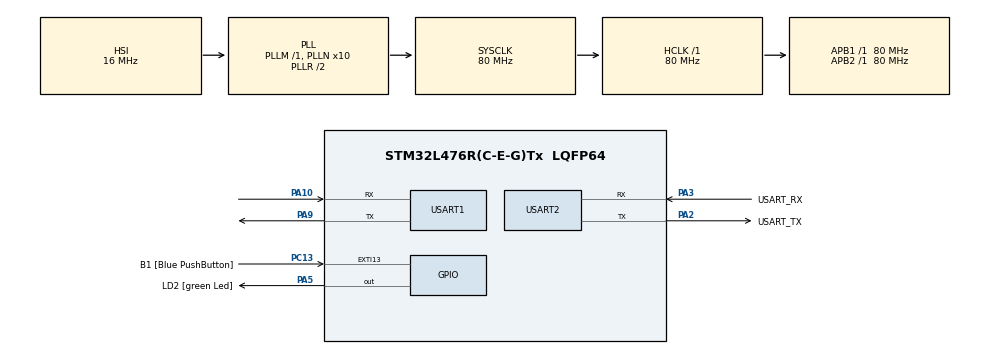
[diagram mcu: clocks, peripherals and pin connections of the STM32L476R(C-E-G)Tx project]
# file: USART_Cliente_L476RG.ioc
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Dma.Request0=USART1_RX
Dma.Request1=USART1_TX
Dma.Request2=USART2_RX
Dma.Request3=USART2_TX
Dma.USART1_RX.0.Direction=DMA_PERIPH_TO_MEMORY
Dma.USART1_RX.0.Instance=DMA1_Channel5
Dma.USART1_RX.0.MemDataAlignment=DMA_MDATAALIGN_BYTE
Dma.USART1_RX.0.MemInc=DMA_MINC_ENABLE
Dma.USART1_RX.0.Mode=DMA_NORMAL
Dma.USART1_RX.0.PeriphDataAlignment=DMA_PDATAALIGN_BYTE
Dma.USART1_RX.0.PeriphInc=DMA_PINC_DISABLE
Dma.USART1_RX.0.Priority=DMA_PRIORITY_LOW
Dma.USART1_TX.1.Direction=DMA_MEMORY_TO_PERIPH
Dma.USART1_TX.1.Instance=DMA1_Channel4
Dma.USART1_TX.1.MemDataAlignment=DMA_MDATAALIGN_BYTE
Dma.USART1_TX.1.MemInc=DMA_MINC_ENABLE
Dma.USART1_TX.1.Mode=DMA_NORMAL
Dma.USART1_TX.1.PeriphDataAlignment=DMA_PDATAALIGN_BYTE
Dma.USART1_TX.1.PeriphInc=DMA_PINC_DISABLE
Dma.USART1_TX.1.Priority=DMA_PRIORITY_LOW
Dma.USART2_RX.2.Direction=DMA_PERIPH_TO_MEMORY
Dma.USART2_RX.2.Instance=DMA1_Channel6
Dma.USART2_RX.2.MemDataAlignment=DMA_MDATAALIGN_BYTE
Dma.USART2_RX.2.MemInc=DMA_MINC_ENABLE
Dma.USART2_RX.2.Mode=DMA_NORMAL
Dma.USART2_RX.2.PeriphDataAlignment=DMA_PDATAALIGN_BYTE
Dma.USART2_RX.2.PeriphInc=DMA_PINC_DISABLE
Dma.USART2_RX.2.Priority=DMA_PRIORITY_LOW
Dma.USART2_TX.3.Direction=DMA_MEMORY_TO_PERIPH
Dma.USART2_TX.3.Instance=DMA1_Channel7
Dma.USART2_TX.3.MemDataAlignment=DMA_MDATAALIGN_BYTE
Dma.USART2_TX.3.MemInc=DMA_MINC_ENABLE
Dma.USART2_TX.3.Mode=DMA_NORMAL
Dma.USART2_TX.3.PeriphDataAlignment=DMA_PDATAALIGN_BYTE
Dma.USART2_TX.3.PeriphInc=DMA_PINC_DISABLE
Dma.USART2_TX.3.Priority=DMA_PRIORITY_LOW
Mcu.Family=STM32L4
Mcu.Name=STM32L476R(C-E-G)Tx
Mcu.Package=LQFP64
NVIC.DMA1_Channel4_IRQn=true\:0\:0\:false\:false\:true\:false\:true\:true
NVIC.DMA1_Channel5_IRQn=true\:0\:0\:false\:false\:true\:false\:true\:true
NVIC.DMA1_Channel6_IRQn=true\:0\:0\:false\:false\:true\:false\:true\:true
NVIC.DMA1_Channel7_IRQn=true\:0\:0\:false\:false\:true\:false\:true\:true
NVIC.EXTI15_10_IRQn=true\:0\:0\:false\:false\:true\:true\:true\:true
NVIC.PriorityGroup=NVIC_PRIORITYGROUP_4
NVIC.USART1_IRQn=true\:0\:0\:false\:false\:true\:true\:true\:true
NVIC.USART2_IRQn=true\:0\:0\:false\:false\:true\:true\:true\:true
PA10.Mode=Asynchronous
PA10.Signal=USART1_RX
PA13\ (JTMS-SWDIO).GPIO_Label=TMS
PA13\ (JTMS-SWDIO).Signal=SYS_JTMS-SWDIO
PA14\ (JTCK-SWCLK).GPIO_Label=TCK
PA14\ (JTCK-SWCLK).Signal=SYS_JTCK-SWCLK
PA2.GPIO_Label=USART_TX
PA2.GPIO_Mode=GPIO_MODE_AF_PP
PA2.GPIO_PuPd=GPIO_NOPULL
PA2.GPIO_Speed=GPIO_SPEED_FREQ_VERY_HIGH
PA2.Mode=Asynchronous
PA2.Signal=USART2_TX
PA3.GPIO_Label=USART_RX
PA3.GPIO_Mode=GPIO_MODE_AF_PP
PA3.GPIO_PuPd=GPIO_NOPULL
PA3.GPIO_Speed=GPIO_SPEED_FREQ_VERY_HIGH
PA3.Mode=Asynchronous
PA3.Signal=USART2_RX
PA5.GPIO_Label=LD2 [green Led]
PA5.GPIO_ModeDefaultOutputPP=GPIO_MODE_OUTPUT_PP
PA5.GPIO_PuPd=GPIO_NOPULL
PA5.GPIO_Speed=GPIO_SPEED_FREQ_VERY_HIGH
PA5.Signal=GPIO_Output
PA9.Mode=Asynchronous
PA9.Signal=USART1_TX
PB3\ (JTDO-TRACESWO).GPIO_Label=SWO
PB3\ (JTDO-TRACESWO).Signal=SYS_JTDO-SWO
PC13.GPIO_Label=B1 [Blue PushButton]
PC13.GPIO_ModeDefaultEXTI=GPIO_MODE_IT_FALLING
PC13.GPIO_PuPd=GPIO_NOPULL
PC13.Signal=GPXTI13
PC14-OSC32_IN\ (PC14).Signal=RCC_OSC32_IN
PC15-OSC32_OUT\ (PC15).Signal=RCC_OSC32_OUT
PH0-OSC_IN\ (PH0).Signal=RCC_OSC_IN
PH1-OSC_OUT\ (PH1).Signal=RCC_OSC_OUT
ProjectManager.HeapSize=0x200
ProjectManager.StackSize=0x400
ProjectManager.TargetToolchain=STM32CubeIDE
RCC.ADCFreq_Value=64000000
RCC.AHBFreq_Value=80000000
RCC.APB1Freq_Value=80000000
RCC.APB1TimFreq_Value=80000000
RCC.APB2Freq_Value=80000000
RCC.APB2TimFreq_Value=80000000
RCC.CortexFreq_Value=80000000
RCC.HCLKFreq_Value=80000000
RCC.HSE_VALUE=8000000
RCC.HSI_VALUE=16000000
RCC.LSE_VALUE=32768
RCC.MSI_VALUE=4000000
RCC.PLLN=10
RCC.PLLSourceVirtual=RCC_PLLSOURCE_HSI
RCC.PREFETCH_ENABLE=1
RCC.SYSCLKFreq_VALUE=80000000
RCC.SYSCLKSource=RCC_SYSCLKSOURCE_PLLCLK
RCC.USBFreq_Value=64000000
RCC.VCOOutputFreq_Value=160000000
USART1.VirtualMode-Asynchronous=VM_ASYNC
USART2.VirtualMode-Asynchronous=VM_ASYNC
board=NUCLEO-L476RG

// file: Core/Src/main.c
/* USER CODE BEGIN Header */
/**
  ******************************************************************************
  * @file           : main.c
  * @brief          : Main program body
  ******************************************************************************
  * @attention
  *
  * Copyright (c) 2025 STMicroelectronics.
  * All rights reserved.
  *
  * This software is licensed under terms that can be found in the LICENSE file
  * in the root directory of this software component.
  * If no LICENSE file comes with this software, it is provided AS-IS.
  *
  ******************************************************************************
  */
/* USER CODE END Header */
#include "main.h"

/* USER CODE BEGIN Includes */
#include <stdio.h>
#include <stdbool.h>
#include <string.h>
/* USER CODE END Includes */

/* USER CODE BEGIN PD */
#define TABLE_BUF_SIZE 256
#define MAX_BLINK 5
/* USER CODE END PD */

UART_HandleTypeDef huart1;
UART_HandleTypeDef huart2;
DMA_HandleTypeDef hdma_usart1_tx;
DMA_HandleTypeDef hdma_usart1_rx;
DMA_HandleTypeDef hdma_usart2_rx;
DMA_HandleTypeDef hdma_usart2_tx;

/* USER CODE BEGIN PV */
volatile bool buttonPressed = false;
volatile bool isBusy = false;

volatile uint8_t rx_byte = 0;
volatile bool expecting_table = false;
volatile uint8_t blink_counter = 0;

volatile uint8_t dma_buffer[TABLE_BUF_SIZE];
volatile uint16_t dma_idx = 0;
volatile bool dma_ready = false;
volatile uint32_t last_rx_tick = 0;
const uint32_t table_rx_timeout = 40;

uint8_t blink_done_count = 0;
uint8_t blink_phase = 0;
uint32_t last_toggle = 0;
const uint32_t on_time = 200;
const uint32_t off_time = 200;

const uint32_t debounce_delay = 200;
volatile uint32_t last_interrupt_time = 0;
/* USER CODE END PV */

void SystemClock_Config(void);
static void MX_GPIO_Init(void);
static void MX_DMA_Init(void);
static void MX_USART2_UART_Init(void);
static void MX_USART1_UART_Init(void);
/* USER CODE BEGIN PFP */
static void HandleButton(void);
static void HandleTable(void);
static void HandleBlink(void);
/* USER CODE END PFP */

int main(void)
{

  /* MCU Configuration--------------------------------------------------------*/

  /* Reset of all peripherals, Initializes the Flash interface and the Systick. */
  HAL_Init();

  /* Configure the system clock */
  SystemClock_Config();

  /* Initialize all configured peripherals */
  MX_GPIO_Init();
  MX_DMA_Init();
  MX_USART2_UART_Init();
  MX_USART1_UART_Init();
  /* USER CODE BEGIN 2 */

  HAL_UART_Transmit(&huart2, (uint8_t *)"USART2 OK\r\n", 11, 100);
  /* USER CODE END 2 */

  /* Infinite loop */
  /* USER CODE BEGIN WHILE */
  HAL_UART_Receive_IT(&huart1, (uint8_t *)&rx_byte, 1);
  HAL_GPIO_WritePin(GPIOA, LD2_Pin, GPIO_PIN_RESET);

    while(1)
    {
    	HandleButton();
    	HandleTable();
    	HandleBlink();
    /* USER CODE END WHILE */

    }
}

void SystemClock_Config(void)
{
  RCC_OscInitTypeDef RCC_OscInitStruct = {0};
  RCC_ClkInitTypeDef RCC_ClkInitStruct = {0};

  /** Configure the main internal regulator output voltage
  */
  if (HAL_PWREx_ControlVoltageScaling(PWR_REGULATOR_VOLTAGE_SCALE1) != HAL_OK)
  {
    Error_Handler();
  }

  /** Initializes the RCC Oscillators according to the specified parameters
  * in the RCC_OscInitTypeDef structure.
  */
  RCC_OscInitStruct.OscillatorType = RCC_OSCILLATORTYPE_HSI;
  RCC_OscInitStruct.HSIState = RCC_HSI_ON;
  RCC_OscInitStruct.HSICalibrationValue = RCC_HSICALIBRATION_DEFAULT;
  RCC_OscInitStruct.PLL.PLLState = RCC_PLL_ON;
  RCC_OscInitStruct.PLL.PLLSource = RCC_PLLSOURCE_HSI;
  RCC_OscInitStruct.PLL.PLLM = 1;
  RCC_OscInitStruct.PLL.PLLN = 10;
  RCC_OscInitStruct.PLL.PLLP = RCC_PLLP_DIV7;
  RCC_OscInitStruct.PLL.PLLQ = RCC_PLLQ_DIV2;
  RCC_OscInitStruct.PLL.PLLR = RCC_PLLR_DIV2;
  if (HAL_RCC_OscConfig(&RCC_OscInitStruct) != HAL_OK)
  {
    Error_Handler();
  }

  /** Initializes the CPU, AHB and APB buses clocks
  */
  RCC_ClkInitStruct.ClockType = RCC_CLOCKTYPE_HCLK|RCC_CLOCKTYPE_SYSCLK
                              |RCC_CLOCKTYPE_PCLK1|RCC_CLOCKTYPE_PCLK2;
  RCC_ClkInitStruct.SYSCLKSource = RCC_SYSCLKSOURCE_PLLCLK;
  RCC_ClkInitStruct.AHBCLKDivider = RCC_SYSCLK_DIV1;
  RCC_ClkInitStruct.APB1CLKDivider = RCC_HCLK_DIV1;
  RCC_ClkInitStruct.APB2CLKDivider = RCC_HCLK_DIV1;

  if (HAL_RCC_ClockConfig(&RCC_ClkInitStruct, FLASH_LATENCY_4) != HAL_OK)
  {
    Error_Handler();
  }
}

static void MX_USART1_UART_Init(void)
{

  huart1.Instance = USART1;
  huart1.Init.BaudRate = 115200;
  huart1.Init.WordLength = UART_WORDLENGTH_8B;
  huart1.Init.StopBits = UART_STOPBITS_1;
  huart1.Init.Parity = UART_PARITY_NONE;
  huart1.Init.Mode = UART_MODE_TX_RX;
  huart1.Init.HwFlowCtl = UART_HWCONTROL_NONE;
  huart1.Init.OverSampling = UART_OVERSAMPLING_16;
  huart1.Init.OneBitSampling = UART_ONE_BIT_SAMPLE_DISABLE;
  huart1.AdvancedInit.AdvFeatureInit = UART_ADVFEATURE_NO_INIT;
  if (HAL_UART_Init(&huart1) != HAL_OK)
  {
    Error_Handler();
  }

}

static void MX_USART2_UART_Init(void)
{

  huart2.Instance = USART2;
  huart2.Init.BaudRate = 115200;
  huart2.Init.WordLength = UART_WORDLENGTH_8B;
  huart2.Init.StopBits = UART_STOPBITS_1;
  huart2.Init.Parity = UART_PARITY_NONE;
  huart2.Init.Mode = UART_MODE_TX_RX;
  huart2.Init.HwFlowCtl = UART_HWCONTROL_NONE;
  huart2.Init.OverSampling = UART_OVERSAMPLING_16;
  huart2.Init.OneBitSampling = UART_ONE_BIT_SAMPLE_DISABLE;
  huart2.AdvancedInit.AdvFeatureInit = UART_ADVFEATURE_NO_INIT;
  if (HAL_UART_Init(&huart2) != HAL_OK)
  {
    Error_Handler();
  }

}

static void MX_DMA_Init(void)
{

  /* DMA controller clock enable */
  __HAL_RCC_DMA1_CLK_ENABLE();

  /* DMA interrupt init */
  /* DMA1_Channel4_IRQn interrupt configuration */
  HAL_NVIC_SetPriority(DMA1_Channel4_IRQn, 0, 0);
  HAL_NVIC_EnableIRQ(DMA1_Channel4_IRQn);
  /* DMA1_Channel5_IRQn interrupt configuration */
  HAL_NVIC_SetPriority(DMA1_Channel5_IRQn, 0, 0);
  HAL_NVIC_EnableIRQ(DMA1_Channel5_IRQn);
  /* DMA1_Channel6_IRQn interrupt configuration */
  HAL_NVIC_SetPriority(DMA1_Channel6_IRQn, 0, 0);
  HAL_NVIC_EnableIRQ(DMA1_Channel6_IRQn);
  /* DMA1_Channel7_IRQn interrupt configuration */
  HAL_NVIC_SetPriority(DMA1_Channel7_IRQn, 0, 0);
  HAL_NVIC_EnableIRQ(DMA1_Channel7_IRQn);

}

static void MX_GPIO_Init(void)
{
  GPIO_InitTypeDef GPIO_InitStruct = {0};

  /* GPIO Ports Clock Enable */
  __HAL_RCC_GPIOC_CLK_ENABLE();
  __HAL_RCC_GPIOH_CLK_ENABLE();
  __HAL_RCC_GPIOA_CLK_ENABLE();
  __HAL_RCC_GPIOB_CLK_ENABLE();

  /*Configure GPIO pin Output Level */
  HAL_GPIO_WritePin(LD2_GPIO_Port, LD2_Pin, GPIO_PIN_RESET);

  /*Configure GPIO pin : B1_Pin */
  GPIO_InitStruct.Pin = B1_Pin;
  GPIO_InitStruct.Mode = GPIO_MODE_IT_FALLING;
  GPIO_InitStruct.Pull = GPIO_NOPULL;
  HAL_GPIO_Init(B1_GPIO_Port, &GPIO_InitStruct);

  /*Configure GPIO pin : LD2_Pin */
  GPIO_InitStruct.Pin = LD2_Pin;
  GPIO_InitStruct.Mode = GPIO_MODE_OUTPUT_PP;
  GPIO_InitStruct.Pull = GPIO_NOPULL;
  GPIO_InitStruct.Speed = GPIO_SPEED_FREQ_VERY_HIGH;
  HAL_GPIO_Init(LD2_GPIO_Port, &GPIO_InitStruct);

  /* EXTI interrupt init*/
  HAL_NVIC_SetPriority(EXTI15_10_IRQn, 0, 0);
  HAL_NVIC_EnableIRQ(EXTI15_10_IRQn);

}

/* USER CODE BEGIN 4 */

static void HandleButton(void) {
    if (buttonPressed) {
    	buttonPressed = false;
        if (!isBusy) {
            uint8_t cmd = 0x5A;
            HAL_UART_Transmit_IT(&huart1, &cmd, 1);
        }
    }
}

static void HandleTable(void) {
    if (expecting_table && dma_idx > 0) {
        if (HAL_GetTick() - last_rx_tick >= table_rx_timeout) {
        	dma_buffer[dma_idx] = '\0';
        	dma_ready = true;
            expecting_table = false;
        }
    }

    if (dma_ready) {
    	dma_ready = false;

        char out[80];
        int n = snprintf(out, sizeof(out),
                         "Número de eventos = %u\r\n",
                         (unsigned)blink_counter);

        if (n > 0) {
            HAL_UART_Transmit(&huart2, (uint8_t *)out,
                              (uint16_t)strlen(out), HAL_MAX_DELAY);
        }

        if (dma_idx > 0) {
        	dma_buffer[dma_idx] = '\0';
            HAL_UART_Transmit(&huart2, (uint8_t *)dma_buffer,
            			dma_idx, HAL_MAX_DELAY);
        } else {
            const char *empty = "Tabela vazia\r\n";
            HAL_UART_Transmit(&huart2, (uint8_t *)empty,
                              (uint16_t)strlen(empty), HAL_MAX_DELAY);
        }

        dma_idx = 0;
        expecting_table = false;
    }
}

static void HandleBlink(void) {
    uint32_t now = HAL_GetTick();

    if (blink_phase == 0 && isBusy && blink_counter > 0) {
        blink_phase = 1;
        blink_done_count = 0;
        last_toggle = now;
        HAL_GPIO_WritePin(GPIOA, LD2_Pin, GPIO_PIN_SET);
    }

    else if (blink_phase == 1) {
        if (now - last_toggle >= on_time) {
            HAL_GPIO_WritePin(GPIOA, LD2_Pin, GPIO_PIN_RESET);
            last_toggle = now;
            blink_phase = 2;
        }
    }

    else if (blink_phase == 2) {
        if (now - last_toggle >= off_time) {
            blink_done_count++;
            if (blink_done_count >= blink_counter) {
                blink_phase = 0;
                isBusy = false;
                blink_counter = 0;
                HAL_GPIO_WritePin(GPIOA, LD2_Pin, GPIO_PIN_RESET);
            } else {
                HAL_GPIO_WritePin(GPIOA, LD2_Pin, GPIO_PIN_SET);
                last_toggle = now;
                blink_phase = 1;
            }
        }
    }
}

void HAL_GPIO_EXTI_Callback(uint16_t GPIO_Pin)
{
    if (GPIO_Pin == GPIO_PIN_13) {
        uint32_t now = HAL_GetTick();
        if (now - last_interrupt_time >= debounce_delay) {
            if (!isBusy) {
            	buttonPressed = true;
            }
        }
        last_interrupt_time = now;
    }
}

void HAL_UART_RxCpltCallback(UART_HandleTypeDef *huart)
{
    if (huart->Instance == USART1) {
        uint8_t b = (uint8_t)rx_byte;

        if (!expecting_table) {
            if (b > MAX_BLINK) b = MAX_BLINK;
            blink_counter = b;

            expecting_table = true;
            dma_idx = 0;
            dma_ready = false;
            last_rx_tick = HAL_GetTick();
            isBusy = true;
        } else {
            if (dma_idx < (TABLE_BUF_SIZE - 1)) {
            	dma_buffer[dma_idx++] = b;
                last_rx_tick = HAL_GetTick();
            } else {
            	dma_buffer[dma_idx] = '\0';
                dma_ready = true;
                expecting_table = false;
            }
        }

        HAL_UART_Receive_IT(&huart1, (uint8_t *)&rx_byte, 1);
    }
}
/* USER CODE END 4 */

void Error_Handler(void)
{
  __disable_irq();
  while (1)
  {
  }
}
